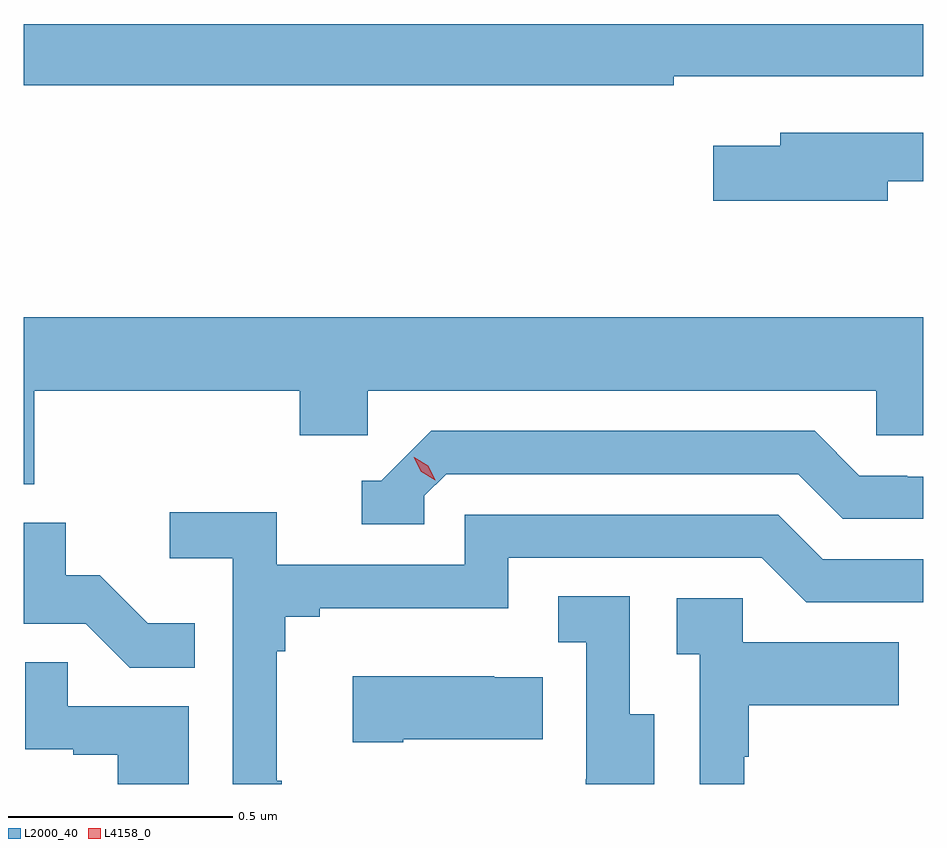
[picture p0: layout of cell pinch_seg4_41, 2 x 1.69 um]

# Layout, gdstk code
import gdstk
lib = gdstk.Library(unit=1e-6, precision=1e-09)
def P(c, l, *ps):  # polygons
    for p in ps: c.add(gdstk.Polygon(p, *l))
L2000_40 = (2000, 40)
L4158_0 = (4158, 0)

pinch_seg4_41 = lib.new_cell('pinch_seg4_41')
P(pinch_seg4_41, L2000_40, [(1127.618,816.168),(1128.173,816.168),(1128.173,816.284),(1126.173,816.284),(1126.173,816.148),(1127.618,816.148)],
  [(1128.094,815.934),(1128.173,815.934),(1128.173,816.042),(1127.855,816.042),(1127.855,816.013),(1127.706,816.013),(1127.706,815.891),(1128.094,815.891)],
  [(1126.196,815.468),(1126.787,815.468),(1126.787,815.37),(1126.938,815.37),(1126.938,815.468),(1128.069,815.468),(1128.069,815.37),(1128.173,815.37),(1128.173,815.632),(1126.173,815.632),(1126.173,815.26),(1126.196,815.26)],
  [(1127.064,815.235),(1127.112,815.283),(1127.895,815.283),(1127.994,815.184),(1128.173,815.184),(1128.173,815.277),(1128.138,815.277),(1128.138,815.28),(1128.031,815.28),(1127.932,815.379),(1127.079,815.379),(1126.968,815.268),(1126.925,815.268),(1126.925,815.172),(1127.064,815.172)],
  [(1126.747,814.601),(1126.735,814.601),(1126.735,814.889),(1126.754,814.889),(1126.754,814.966),(1126.831,814.966),(1126.831,814.985),(1127.25,814.985),(1127.25,815.097),(1127.814,815.097),(1127.913,814.998),(1128.173,814.998),(1128.173,815.094),(1127.95,815.094),(1127.851,815.193),(1127.154,815.193),(1127.154,815.082),(1126.736,815.082),(1126.736,815.198),(1126.497,815.198),(1126.497,815.096),(1126.638,815.096),(1126.638,814.594),(1126.747,814.594)],
  [(1126.553,814.951),(1126.449,814.951),(1126.342,815.058),(1126.266,815.058),(1126.266,815.175),(1126.173,815.175),(1126.173,814.95),(1126.311,814.95),(1126.409,814.852),(1126.553,814.852)],
  [(1127.575,814.749),(1127.52,814.749),(1127.52,815.012),(1127.361,815.012),(1127.361,814.909),(1127.424,814.909),(1127.424,814.605),(1127.423,814.605),(1127.423,814.594),(1127.575,814.594)],
  [(1127.775,814.655),(1127.785,814.655),(1127.785,814.769),(1128.119,814.769),(1128.119,814.909),(1127.772,814.909),(1127.772,815.007),(1127.625,815.007),(1127.625,814.883),(1127.676,814.883),(1127.676,814.594),(1127.775,814.594)],
  [(1126.54,814.767),(1126.271,814.767),(1126.271,814.865),(1126.176,814.865),(1126.176,814.671),(1126.283,814.671),(1126.283,814.659),(1126.382,814.659),(1126.382,814.594),(1126.54,814.594)],
  [(1127.017,814.694),(1127.327,814.694),(1127.327,814.831),(1127.219,814.831),(1127.219,814.834),(1126.905,814.834),(1126.905,814.687),(1127.017,814.687)])
P(pinch_seg4_41, L4158_0, [(1127.088,815.269),(1127.057,815.288),(1127.04,815.321),(1127.04,815.321),(1127.041,815.321),(1127.072,815.302),(1127.088,815.269),(1127.088,815.269)])

lib.write_gds('pinch_seg4_41.gds')
